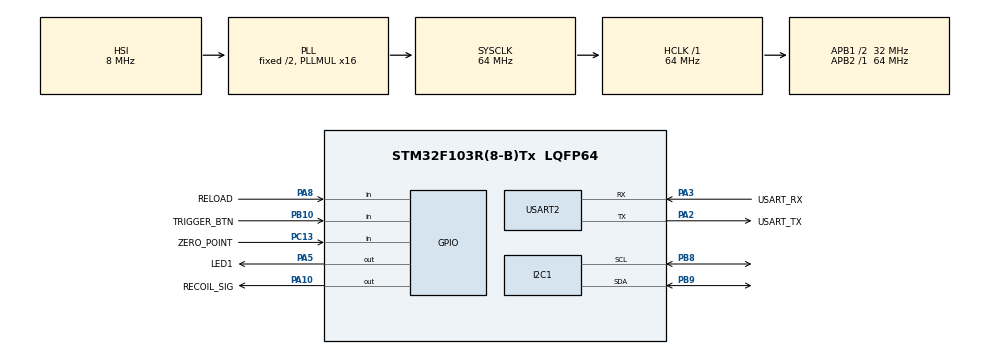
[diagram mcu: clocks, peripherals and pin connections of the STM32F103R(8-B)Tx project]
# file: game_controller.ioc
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FREERTOS.Tasks01=aimTask,24,256,StartAimTask,Default,NULL,Dynamic,NULL,NULL;buttonTask,24,128,StartButtonTask,Default,NULL,Dynamic,NULL,NULL;recoilTask,24,128,StartRecoilTask,Default,NULL,Dynamic,NULL,NULL
FREERTOS.configGENERATE_RUN_TIME_STATS=0
FREERTOS.configUSE_NEWLIB_REENTRANT=1
FREERTOS.configUSE_STATS_FORMATTING_FUNCTIONS=0
Mcu.Family=STM32F1
Mcu.Name=STM32F103R(8-B)Tx
Mcu.Package=LQFP64
NVIC.PriorityGroup=NVIC_PRIORITYGROUP_4
NVIC.TIM4_IRQn=true\:15\:0\:false\:false\:true\:false\:false\:true\:true
NVIC.TimeBase=TIM4_IRQn
NVIC.TimeBaseIP=TIM4
NVIC.USART2_IRQn=true\:5\:0\:false\:false\:true\:true\:true\:true\:true
PA10.GPIO_Label=RECOIL_SIG
PA10.GPIO_PuPd=GPIO_PULLUP
PA10.Signal=GPIO_Output
PA13.GPIO_Label=TMS
PA13.Mode=Serial_Wire
PA13.Signal=SYS_JTMS-SWDIO
PA14.GPIO_Label=TCK
PA14.Mode=Serial_Wire
PA14.Signal=SYS_JTCK-SWCLK
PA2.GPIO_Label=USART_TX
PA2.GPIO_Mode=GPIO_MODE_AF_PP
PA2.GPIO_PuPd=GPIO_NOPULL
PA2.GPIO_Speed=GPIO_SPEED_FREQ_LOW
PA2.Mode=Asynchronous
PA2.Signal=USART2_TX
PA3.GPIO_Label=USART_RX
PA3.GPIO_Mode=GPIO_MODE_AF_PP
PA3.GPIO_PuPd=GPIO_NOPULL
PA3.GPIO_Speed=GPIO_SPEED_FREQ_LOW
PA3.Mode=Asynchronous
PA3.Signal=USART2_RX
PA5.GPIO_Label=LED1
PA5.GPIO_ModeDefaultOutputPP=GPIO_MODE_OUTPUT_PP
PA5.GPIO_PuPd=GPIO_NOPULL
PA5.GPIO_Speed=GPIO_SPEED_FREQ_LOW
PA5.Signal=GPIO_Output
PA8.GPIO_Label=RELOAD
PA8.GPIO_PuPd=GPIO_PULLUP
PA8.Signal=GPIO_Input
PB10.GPIO_Label=TRIGGER_BTN
PB10.GPIO_PuPd=GPIO_PULLUP
PB10.Signal=GPIO_Input
PB3.GPIO_Label=SWO
PB3.Signal=SYS_JTDO-TRACESWO
PB8.Mode=I2C
PB8.Signal=I2C1_SCL
PB9.Mode=I2C
PB9.Signal=I2C1_SDA
PC13-TAMPER-RTC.GPIO_Label=ZERO_POINT
PC13-TAMPER-RTC.GPIO_PuPd=GPIO_PULLUP
PC13-TAMPER-RTC.Signal=GPIO_Input
PC14-OSC32_IN.Mode=LSE-External-Oscillator
PC14-OSC32_IN.Signal=RCC_OSC32_IN
PC15-OSC32_OUT.Mode=LSE-External-Oscillator
PC15-OSC32_OUT.Signal=RCC_OSC32_OUT
PD0-OSC_IN.Mode=HSE-External-Clock-Source
PD0-OSC_IN.Signal=RCC_OSC_IN
PD1-OSC_OUT.Mode=HSE-External-Clock-Source
PD1-OSC_OUT.Signal=RCC_OSC_OUT
ProjectManager.HeapSize=0x200
ProjectManager.StackSize=0x400
ProjectManager.TargetToolchain=STM32CubeIDE
RCC.AHBFreq_Value=64000000
RCC.APB1CLKDivider=RCC_HCLK_DIV2
RCC.APB1Freq_Value=32000000
RCC.APB1TimFreq_Value=64000000
RCC.APB2Freq_Value=64000000
RCC.APB2TimFreq_Value=64000000
RCC.HCLKFreq_Value=64000000
RCC.PLLMUL=RCC_PLL_MUL16
RCC.RTCClockSelection=RCC_RTCCLKSOURCE_LSE
RCC.SYSCLKFreq_VALUE=64000000
RCC.SYSCLKSource=RCC_SYSCLKSOURCE_PLLCLK
RCC.USBFreq_Value=64000000
USART2.VirtualMode=VM_ASYNC
VP_FREERTOS_VS_CMSIS_V2.Mode=CMSIS_V2
VP_SYS_VS_tim4.Mode=TIM4
board=NUCLEO-F103RB

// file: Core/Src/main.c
/* USER CODE BEGIN Header */
/**
  ******************************************************************************
  * @file           : main.c
  * @brief          : Main program body
  ******************************************************************************
  * @attention
  *
  * Copyright (c) 2024 STMicroelectronics.
  * All rights reserved.
  *
  * This software is licensed under terms that can be found in the LICENSE file
  * in the root directory of this software component.
  * If no LICENSE file comes with this software, it is provided AS-IS.
  *
  ******************************************************************************
  */
/* USER CODE END Header */
#include "main.h"
#include "cmsis_os.h"
#include "i2c.h"
#include "usart.h"
#include "gpio.h"

/* USER CODE BEGIN Includes */
#include <stdio.h>
#include "mpu6050.h"
#include "semphr.h" // for mutex
/* USER CODE END Includes */

/* USER CODE BEGIN PD */
SemaphoreHandle_t uart_tx_mutex; // UART tx mutex
uint8_t rx_data; // UART rx data
/* USER CODE END PD */

/* USER CODE BEGIN PV */
MPU6050_t MPU6050;
volatile uint16_t recoil;
volatile uint16_t started;
/* USER CODE END PV */

void SystemClock_Config(void);
void MX_FREERTOS_Init(void);

/* USER CODE BEGIN 0 */
int _read(int file, char *ptr, int len){
  HAL_UART_Receive(&huart2, (uint8_t*)ptr, 1, 0xFFFF);
  HAL_UART_Transmit(&huart2, (uint8_t*)ptr, 1, 100);
  return 1;
}

int _write(int file, char *ptr, int len){
  // get mutex
  if (xSemaphoreTake(uart_tx_mutex, portMAX_DELAY) == pdTRUE) {
      // uart tx
      HAL_UART_Transmit(&huart2, (uint8_t*)ptr, len, 100);
      // return mutex
      xSemaphoreGive(uart_tx_mutex);
  }
  return len;
}

void HAL_UART_RxCpltCallback(UART_HandleTypeDef *huart) {
  if (huart->Instance == USART2) {
      // do isr
	  switch (rx_data) {
      case '1':
    	  started = 1;
    	  break;
	  case '2':
		  started = 0;
		  break;
	  case '3':
		  recoil = 1;
		  break;
      }
      // rx buffer size reset
      HAL_UART_Receive_IT(&huart2, &rx_data, 1);
  }
}
/* USER CODE END 0 */

int main(void)
{

  /* MCU Configuration--------------------------------------------------------*/

  /* Reset of all peripherals, Initializes the Flash interface and the Systick. */
  HAL_Init();

  /* Configure the system clock */
  SystemClock_Config();

  /* Initialize all configured peripherals */
  MX_GPIO_Init();
  MX_USART2_UART_Init();
  MX_I2C1_Init();
  /* USER CODE BEGIN 2 */
  WHO_AM_I(&hi2c1);
  wake_up(&hi2c1);
  set_sample_rate(&hi2c1, 1000);
  set_sensitivity(&hi2c1, &MPU6050, gyro_full_scale_range_250, accel_full_scale_range_2g);
  calibration(&MPU6050);

  uart_tx_mutex = xSemaphoreCreateMutex(); // create mutex
  HAL_UART_Receive_IT(&huart2, &rx_data, 1);
  /* USER CODE END 2 */

  /* Init scheduler */
  osKernelInitialize();  /* Call init function for freertos objects (in freertos.c) */
  MX_FREERTOS_Init();

  /* Start scheduler */
  osKernelStart();

  /* We should never get here as control is now taken by the scheduler */
  /* Infinite loop */
  while (1)
  {

  }
}

void SystemClock_Config(void)
{
  RCC_OscInitTypeDef RCC_OscInitStruct = {0};
  RCC_ClkInitTypeDef RCC_ClkInitStruct = {0};

  /** Initializes the RCC Oscillators according to the specified parameters
  * in the RCC_OscInitTypeDef structure.
  */
  RCC_OscInitStruct.OscillatorType = RCC_OSCILLATORTYPE_HSI;
  RCC_OscInitStruct.HSIState = RCC_HSI_ON;
  RCC_OscInitStruct.HSICalibrationValue = RCC_HSICALIBRATION_DEFAULT;
  RCC_OscInitStruct.PLL.PLLState = RCC_PLL_ON;
  RCC_OscInitStruct.PLL.PLLSource = RCC_PLLSOURCE_HSI_DIV2;
  RCC_OscInitStruct.PLL.PLLMUL = RCC_PLL_MUL16;
  if (HAL_RCC_OscConfig(&RCC_OscInitStruct) != HAL_OK)
  {
    Error_Handler();
  }

  /** Initializes the CPU, AHB and APB buses clocks
  */
  RCC_ClkInitStruct.ClockType = RCC_CLOCKTYPE_HCLK|RCC_CLOCKTYPE_SYSCLK
                              |RCC_CLOCKTYPE_PCLK1|RCC_CLOCKTYPE_PCLK2;
  RCC_ClkInitStruct.SYSCLKSource = RCC_SYSCLKSOURCE_PLLCLK;
  RCC_ClkInitStruct.AHBCLKDivider = RCC_SYSCLK_DIV1;
  RCC_ClkInitStruct.APB1CLKDivider = RCC_HCLK_DIV2;
  RCC_ClkInitStruct.APB2CLKDivider = RCC_HCLK_DIV1;

  if (HAL_RCC_ClockConfig(&RCC_ClkInitStruct, FLASH_LATENCY_2) != HAL_OK)
  {
    Error_Handler();
  }
}

void HAL_TIM_PeriodElapsedCallback(TIM_HandleTypeDef *htim)
{
  if (htim->Instance == TIM4) {
    HAL_IncTick();
  }
}

void Error_Handler(void)
{
  __disable_irq();
  while (1)
  {
  }
}

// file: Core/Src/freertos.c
/* USER CODE BEGIN Header */
/**
 ******************************************************************************
 * File Name          : freertos.c
 * Description        : Code for freertos applications
 ******************************************************************************
 * @attention
 *
 * Copyright (c) 2024 STMicroelectronics.
 * All rights reserved.
 *
 * This software is licensed under terms that can be found in the LICENSE file
 * in the root directory of this software component.
 * If no LICENSE file comes with this software, it is provided AS-IS.
 *
 ******************************************************************************
 */
/* USER CODE END Header */

#include "FreeRTOS.h"
#include "task.h"
#include "main.h"
#include "cmsis_os.h"

/* USER CODE BEGIN Includes */
#include <stdio.h>
#include "mpu6050.h"
/* USER CODE END Includes */

/* USER CODE BEGIN PD */
extern I2C_HandleTypeDef hi2c1;
extern MPU6050_t MPU6050;
extern uint16_t recoil;
extern uint16_t started;
/* USER CODE END PD */

/* Definitions for aimTask */
osThreadId_t aimTaskHandle;
const osThreadAttr_t aimTask_attributes = {
  .name = "aimTask",
  .stack_size = 256 * 4,
  .priority = (osPriority_t) osPriorityNormal,
};
/* Definitions for buttonTask */
osThreadId_t buttonTaskHandle;
const osThreadAttr_t buttonTask_attributes = {
  .name = "buttonTask",
  .stack_size = 128 * 4,
  .priority = (osPriority_t) osPriorityNormal,
};
/* Definitions for recoilTask */
osThreadId_t recoilTaskHandle;
const osThreadAttr_t recoilTask_attributes = {
  .name = "recoilTask",
  .stack_size = 128 * 4,
  .priority = (osPriority_t) osPriorityNormal,
};

void StartAimTask(void *argument);
void StartButtonTask(void *argument);
void StartRecoilTask(void *argument);

void MX_FREERTOS_Init(void); /* (MISRA C 2004 rule 8.1) */

void MX_FREERTOS_Init(void) {

  /* Create the thread(s) */
  /* creation of aimTask */
  aimTaskHandle = osThreadNew(StartAimTask, NULL, &aimTask_attributes);

  /* creation of buttonTask */
  buttonTaskHandle = osThreadNew(StartButtonTask, NULL, &buttonTask_attributes);

  /* creation of recoilTask */
  recoilTaskHandle = osThreadNew(StartRecoilTask, NULL, &recoilTask_attributes);

}

void StartAimTask(void *argument)
{
  /* USER CODE BEGIN StartAimTask */
  /* Infinite loop */
  for(;;)
    {
      started = 1;
      if (started) {
    	  read_gyro(&hi2c1, &MPU6050, 0);
    	  read_accel(&hi2c1, &MPU6050, 0);
        get_angle(&hi2c1, &MPU6050);
        printf("point,%3.2f,%3.2f,%3.2f\r\n", MPU6050.filtered_x_angle, MPU6050.filtered_y_angle, MPU6050.filtered_z_angle);
      }
      osDelay(10);
    }
  /* USER CODE END StartAimTask */
}

void StartButtonTask(void *argument)
{
  /* USER CODE BEGIN StartButtonTask */
  /* Infinite loop */
  for(;;)
  {
    if (HAL_GPIO_ReadPin (TRIGGER_BTN_GPIO_Port, TRIGGER_BTN_Pin) == 0) {
    	printf("trigger\r\n");
    }
    if (HAL_GPIO_ReadPin (RELOAD_GPIO_Port, RELOAD_Pin) == 0) {
    	printf("reload\r\n");
    }
    if (HAL_GPIO_ReadPin (ZERO_POINT_GPIO_Port, ZERO_POINT_Pin) == 0) {
      printf("zero\r\n");
    }
    osDelay(10);
  }
  /* USER CODE END StartButtonTask */
}

void StartRecoilTask(void *argument)
{
  /* USER CODE BEGIN StartRecoilTask */
  /* Infinite loop */
  for(;;)
    {

      if (started && recoil) {
    	  recoil = 0;
    	  HAL_GPIO_WritePin(RECOIL_SIG_GPIO_Port, RECOIL_SIG_Pin, SET);
    	  HAL_Delay(100);
    	  HAL_GPIO_WritePin(RECOIL_SIG_GPIO_Port, RECOIL_SIG_Pin, RESET);
    	  printf("recoil\r\n");
      }
      osDelay(10);
    }
  /* USER CODE END StartRecoilTask */
}
